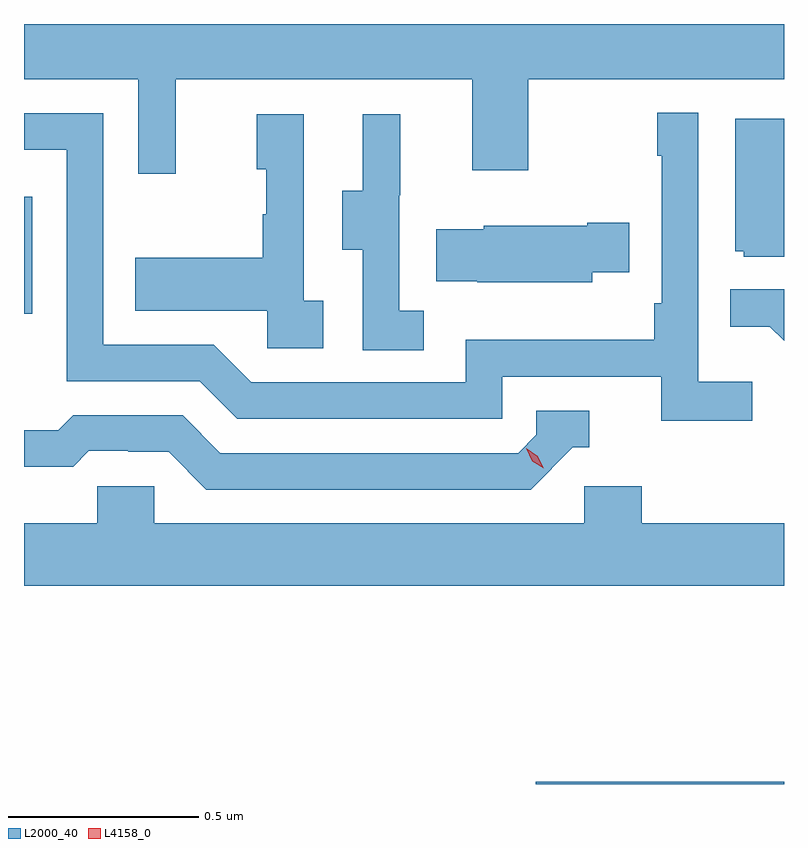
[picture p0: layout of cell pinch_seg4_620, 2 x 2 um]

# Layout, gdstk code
import gdstk
lib = gdstk.Library(unit=1e-6, precision=1e-09)
def R(c, l, rs):  # rectangles x0, y0, x1, y1
    for r in rs: c.add(gdstk.rectangle(r[:2], r[2:], *l))
def P(c, l, *ps):  # polygons
    for p in ps: c.add(gdstk.Polygon(p, *l))
L2000_40 = (2000, 40)
L4158_0 = (4158, 0)

pinch_seg4_620 = lib.new_cell('pinch_seg4_620')
R(pinch_seg4_620, L2000_40, [(1066.805,772.322,1067.458,772.328), (1065.458,773.559,1065.48,773.868)])
P(pinch_seg4_620, L2000_40, [(1065.458,774.176),(1065.759,774.176),(1065.759,773.928),(1065.857,773.928),(1065.857,774.176),(1066.637,774.176),(1066.637,773.937),(1066.785,773.937),(1066.785,774.176),(1067.458,774.176),(1067.458,774.322),(1065.458,774.322)],
  [(1067.374,773.38),(1067.232,773.38),(1067.232,774.088),(1067.124,774.088),(1067.124,773.975),(1067.136,773.975),(1067.136,773.587),(1067.116,773.587),(1067.116,773.491),(1066.62,773.491),(1066.62,773.379),(1066.056,773.379),(1065.957,773.478),(1065.666,773.478),(1065.666,774.087),(1065.458,774.087),(1065.458,773.991),(1065.57,773.991),(1065.57,773.382),(1065.92,773.382),(1066.019,773.283),(1066.716,773.283),(1066.716,773.394),(1067.135,773.394),(1067.135,773.278),(1067.374,773.278)],
  [(1066.246,773.594),(1066.194,773.594),(1066.194,774.085),(1066.07,774.085),(1066.07,773.94),(1066.096,773.94),(1066.096,773.822),(1066.086,773.822),(1066.086,773.707),(1065.751,773.707),(1065.751,773.567),(1066.098,773.567),(1066.098,773.469),(1066.246,773.469)],
  [(1066.51,773.567),(1066.446,773.567),(1066.446,773.871),(1066.448,773.871),(1066.448,774.085),(1066.349,774.085),(1066.349,773.883),(1066.295,773.883),(1066.295,773.728),(1066.35,773.728),(1066.35,773.464),(1066.51,773.464)],
  [(1067.458,774.073),(1067.33,774.073),(1067.33,773.724),(1067.352,773.724),(1067.352,773.709),(1067.458,773.709)],
  [(1066.953,773.669),(1067.051,773.669),(1067.051,773.799),(1066.94,773.799),(1066.94,773.791),(1066.668,773.791),(1066.668,773.782),(1066.543,773.782),(1066.543,773.645),(1066.651,773.645),(1066.651,773.642),(1066.953,773.642)],
  [(1067.458,773.624),(1067.317,773.624),(1067.317,773.525),(1067.421,773.525),(1067.458,773.488)],
  [(1066.902,773.208),(1066.945,773.208),(1066.945,773.304),(1066.806,773.304),(1066.806,773.241),(1066.758,773.193),(1065.975,773.193),(1065.876,773.292),(1065.587,773.292),(1065.548,773.253),(1065.458,773.253),(1065.458,773.157),(1065.587,773.157),(1065.629,773.199),(1065.732,773.199),(1065.732,773.196),(1065.839,773.196),(1065.938,773.097),(1066.791,773.097)],
  [(1067.458,773.008),(1067.084,773.008),(1067.084,773.106),(1066.932,773.106),(1066.932,773.008),(1065.801,773.008),(1065.801,773.106),(1065.651,773.106),(1065.651,773.008),(1065.458,773.008),(1065.458,772.844),(1067.458,772.844)])
P(pinch_seg4_620, L4158_0, [(1066.826,773.153),(1066.795,773.172),(1066.78,773.205),(1066.78,773.205),(1066.78,773.205),(1066.81,773.185),(1066.826,773.153),(1066.826,773.153)])

lib.write_gds('pinch_seg4_620.gds')
